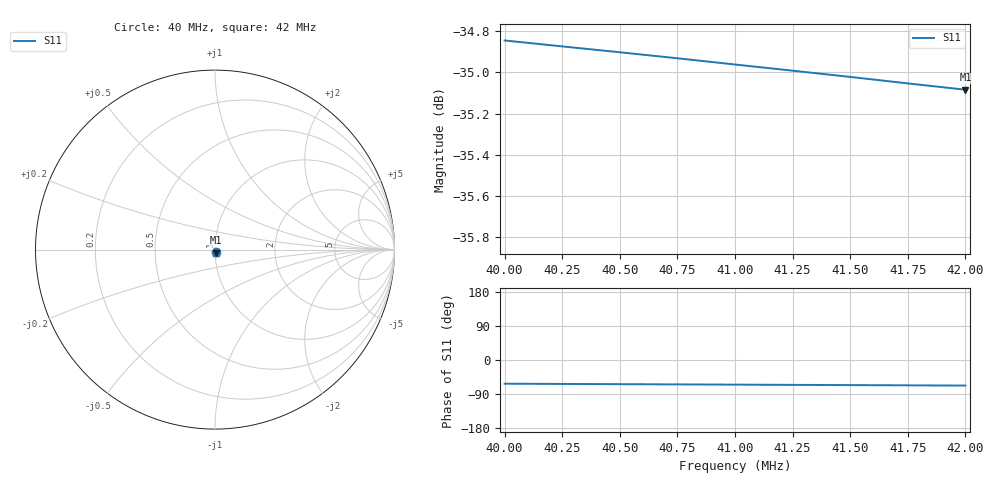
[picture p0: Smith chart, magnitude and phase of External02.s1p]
# Hz S RI R 50
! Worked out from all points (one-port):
!   9 points, 40 MHz to 42 MHz, reference 50 ohm
!   lowest |S11| = -35.1 dB at 42 MHz (marker M1), VSWR 1.04, Z = 50.7 - j1.65 ohm
!   |S11| at or under -10 dB: start of sweep to end of sweep
4e7  0.00834 -0.0161
4.025e7  0.00814 -0.0161
4.05e7  0.00795 -0.0161
4.075e7  0.00775 -0.0162
4.1e7  0.00755 -0.0162
4.125e7  0.00735 -0.0162
4.15e7  0.00715 -0.0162
4.175e7  0.00695 -0.0162
4.2e7  0.00675 -0.0163
